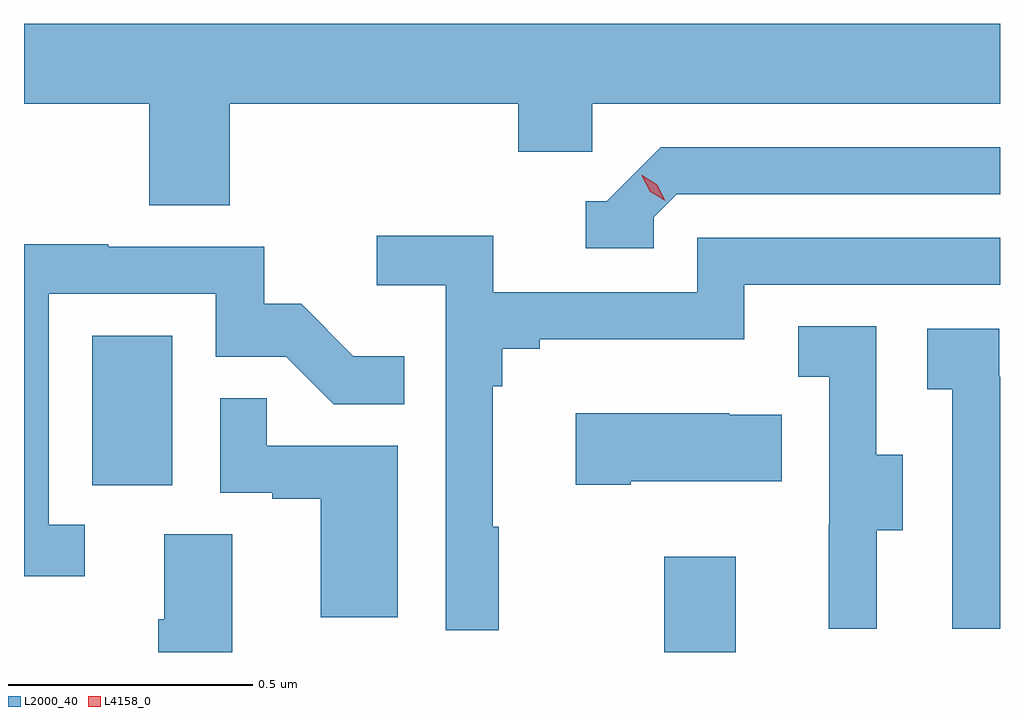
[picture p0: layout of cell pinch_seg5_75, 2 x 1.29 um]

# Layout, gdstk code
import gdstk
lib = gdstk.Library(unit=1e-6, precision=1e-09)
def R(c, l, rs):  # rectangles x0, y0, x1, y1
    for r in rs: c.add(gdstk.rectangle(r[:2], r[2:], *l))
def P(c, l, *ps):  # polygons
    for p in ps: c.add(gdstk.Polygon(p, *l))
L2000_40 = (2000, 40)
L4158_0 = (4158, 0)

pinch_seg5_75 = lib.new_cell('pinch_seg5_75')
R(pinch_seg5_75, L2000_40, [(1054.27,907.584,1054.417,907.78), (1053.098,907.926,1053.262,908.233)])
P(pinch_seg5_75, L2000_40, [(1053.38,908.708),(1053.971,908.708),(1053.971,908.61),(1054.122,908.61),(1054.122,908.708),(1054.958,908.708),(1054.958,908.872),(1052.958,908.872),(1052.958,908.708),(1053.215,908.708),(1053.215,908.5),(1053.38,908.5)],
  [(1054.248,908.475),(1054.296,908.523),(1054.958,908.523),(1054.958,908.619),(1054.263,908.619),(1054.152,908.508),(1054.109,908.508),(1054.109,908.412),(1054.248,908.412)],
  [(1053.931,907.841),(1053.919,907.841),(1053.919,908.129),(1053.938,908.129),(1053.938,908.206),(1054.015,908.206),(1054.015,908.225),(1054.434,908.225),(1054.434,908.337),(1054.958,908.337),(1054.958,908.433),(1054.338,908.433),(1054.338,908.322),(1053.92,908.322),(1053.92,908.438),(1053.681,908.438),(1053.681,908.336),(1053.822,908.336),(1053.822,907.629),(1053.931,907.629)],
  [(1053.082,907.845),(1053.009,907.845),(1053.009,908.319),(1053.351,908.319),(1053.351,908.19),(1053.495,908.19),(1053.593,908.092),(1053.737,908.092),(1053.737,908.191),(1053.633,908.191),(1053.526,908.298),(1053.45,908.298),(1053.45,908.415),(1053.131,908.415),(1053.131,908.42),(1052.958,908.42),(1052.958,907.74),(1053.082,907.74)],
  [(1054.705,907.834),(1054.759,907.834),(1054.759,907.989),(1054.704,907.989),(1054.704,908.252),(1054.545,908.252),(1054.545,908.149),(1054.608,908.149),(1054.608,907.845),(1054.607,907.845),(1054.607,907.632),(1054.705,907.632)],
  [(1054.958,908.149),(1054.956,908.149),(1054.956,908.247),(1054.809,908.247),(1054.809,908.123),(1054.86,908.123),(1054.86,907.632),(1054.958,907.632)],
  [(1053.724,908.007),(1053.455,908.007),(1053.455,908.105),(1053.36,908.105),(1053.36,907.911),(1053.467,907.911),(1053.467,907.899),(1053.566,907.899),(1053.566,907.656),(1053.724,907.656)],
  [(1054.201,907.934),(1054.511,907.934),(1054.511,908.071),(1054.403,908.071),(1054.403,908.074),(1054.089,908.074),(1054.089,907.927),(1054.201,907.927)],
  [(1053.385,907.826),(1053.245,907.826),(1053.245,907.652),(1053.233,907.652),(1053.233,907.584),(1053.385,907.584)])
P(pinch_seg5_75, L4158_0, [(1054.272,908.509),(1054.241,908.528),(1054.224,908.56),(1054.224,908.561),(1054.225,908.561),(1054.256,908.542),(1054.272,908.509),(1054.272,908.509)])

lib.write_gds('pinch_seg5_75.gds')
